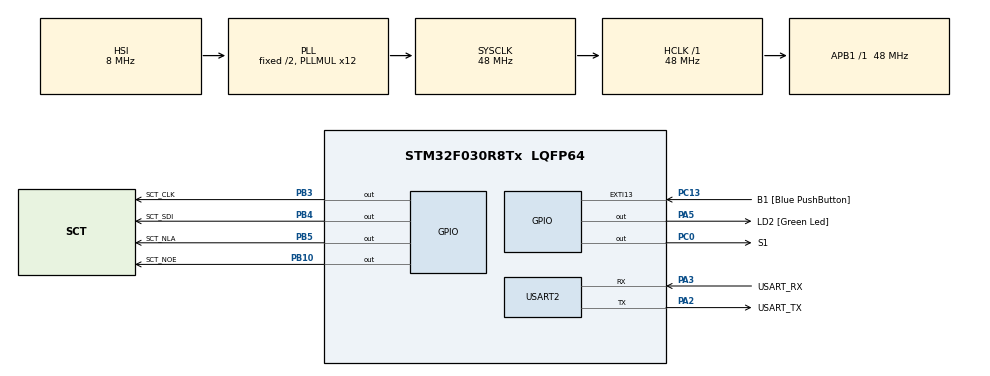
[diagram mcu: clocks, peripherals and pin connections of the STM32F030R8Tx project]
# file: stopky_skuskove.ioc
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Mcu.Family=STM32F0
Mcu.Name=STM32F030R8Tx
Mcu.Package=LQFP64
PA13.GPIO_Label=TMS
PA13.Mode=Serial_Wire
PA13.Signal=SYS_SWDIO
PA14.GPIO_Label=TCK
PA14.Mode=Serial_Wire
PA14.Signal=SYS_SWCLK
PA2.GPIO_Label=USART_TX
PA2.GPIO_Mode=GPIO_MODE_AF_PP
PA2.GPIO_PuPd=GPIO_NOPULL
PA2.GPIO_Speed=GPIO_SPEED_FREQ_LOW
PA2.Mode=Asynchronous
PA2.Signal=USART2_TX
PA3.GPIO_Label=USART_RX
PA3.GPIO_Mode=GPIO_MODE_AF_PP
PA3.GPIO_PuPd=GPIO_NOPULL
PA3.GPIO_Speed=GPIO_SPEED_FREQ_LOW
PA3.Mode=Asynchronous
PA3.Signal=USART2_RX
PA5.GPIO_Label=LD2 [Green Led]
PA5.GPIO_Mode=GPIO_MODE_OUTPUT_PP
PA5.GPIO_PuPd=GPIO_NOPULL
PA5.GPIO_Speed=GPIO_SPEED_FREQ_LOW
PA5.Signal=GPIO_Output
PB10.GPIO_Label=SCT_NOE
PB10.Signal=GPIO_Output
PB3.GPIO_Label=SCT_CLK
PB3.Signal=GPIO_Output
PB4.GPIO_Label=SCT_SDI
PB4.Signal=GPIO_Output
PB5.GPIO_Label=SCT_NLA
PB5.Signal=GPIO_Output
PC0.GPIO_Label=S1
PC0.GPIO_PuPd=GPIO_PULLUP
PC0.Signal=GPIO_Output
PC13.GPIO_Label=B1 [Blue PushButton]
PC13.GPIO_ModeDefaultEXTI=GPIO_MODE_IT_FALLING
PC13.Signal=GPXTI13
PC14-OSC32_IN.Mode=LSE-External-Oscillator
PC14-OSC32_IN.Signal=RCC_OSC32_IN
PC15-OSC32_OUT.Mode=LSE-External-Oscillator
PC15-OSC32_OUT.Signal=RCC_OSC32_OUT
PF0-OSC_IN.Mode=HSE-External-Clock-Source
PF0-OSC_IN.Signal=RCC_OSC_IN
PF1-OSC_OUT.Signal=RCC_OSC_OUT
ProjectManager.HeapSize=0x200
ProjectManager.StackSize=0x400
ProjectManager.TargetToolchain=STM32CubeIDE
RCC.AHBFreq_Value=48000000
RCC.APB1Freq_Value=48000000
RCC.APB1TimFreq_Value=48000000
RCC.HCLKFreq_Value=48000000
RCC.PLLMUL=RCC_PLL_MUL12
RCC.SYSCLKFreq_VALUE=48000000
RCC.SYSCLKSource=RCC_SYSCLKSOURCE_PLLCLK
USART2.VirtualMode-Asynchronous=VM_ASYNC
board=NUCLEO-F030R8

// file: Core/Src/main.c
/* USER CODE BEGIN Header */
/**
  ******************************************************************************
  * @file           : main.c
  * @brief          : Main program body
  ******************************************************************************
  * @attention
  *
  * Copyright (c) 2024 STMicroelectronics.
  * All rights reserved.
  *
  * This software is licensed under terms that can be found in the LICENSE file
  * in the root directory of this software component.
  * If no LICENSE file comes with this software, it is provided AS-IS.
  *
  ******************************************************************************
  */
/* USER CODE END Header */
#include "main.h"

/* USER CODE BEGIN Includes */
#include "sct.h"
/* USER CODE END Includes */

/* USER CODE BEGIN PTD */
#define BTN_TIME		40
#define DEBOUNCE_MS		5
#define DEBOUNCE_TIME	100
/* USER CODE END PTD */

UART_HandleTypeDef huart2;

void SystemClock_Config(void);
static void MX_GPIO_Init(void);
static void MX_USART2_UART_Init(void);

int main(void)
{

  /* MCU Configuration--------------------------------------------------------*/

  /* Reset of all peripherals, Initializes the Flash interface and the Systick. */
  HAL_Init();

  /* USER CODE BEGIN Init */
sct_init();

  /* USER CODE END Init */

  /* Configure the system clock */
  SystemClock_Config();

  /* Initialize all configured peripherals */
  MX_GPIO_Init();
  MX_USART2_UART_Init();
  /* USER CODE BEGIN 2 */
  sct_value(100,5,2);
  /* USER CODE END 2 */

  /* Infinite loop */
  /* USER CODE BEGIN WHILE */
  uint8_t minutes = 0;
  uint8_t seconds = 0;
  uint8_t miliseconds = 0;
  static uint32_t last_task_time = 0;
  uint32_t new_s1 = HAL_GPIO_ReadPin(S1_GPIO_Port, S1_Pin);
  static uint32_t off_time, old_time, debounce_time;

  while (1)
  {

	  if((HAL_GetTick()-last_task_time) > 100)
	  {  miliseconds++;

	  if(miliseconds == 10)
	  {
		  seconds++;
		  miliseconds=0;

		  if(seconds == 60)
		  {
			  minutes++;
			  seconds = 0;
		  }
	  }
	  last_task_time = HAL_GetTick();
	  }

	  static uint16_t debounce = 0xFFFF;
	  if (HAL_GetTick() > debounce_time + DEBOUNCE_MS) {
		  debounce_time = HAL_GetTick();

		  debounce <<= 1;
		  if (new_s1) debounce |= 0x0001;

		  if (debounce == 0x7FFF) {
			  }
			  sct_value(minutes * 1000 + seconds*10 + miliseconds, 8, 1);
		  }
    /* USER CODE END WHILE */

  }
}

void SystemClock_Config(void)
{
  RCC_OscInitTypeDef RCC_OscInitStruct = {0};
  RCC_ClkInitTypeDef RCC_ClkInitStruct = {0};

  /** Initializes the RCC Oscillators according to the specified parameters
  * in the RCC_OscInitTypeDef structure.
  */
  RCC_OscInitStruct.OscillatorType = RCC_OSCILLATORTYPE_HSI;
  RCC_OscInitStruct.HSIState = RCC_HSI_ON;
  RCC_OscInitStruct.HSICalibrationValue = RCC_HSICALIBRATION_DEFAULT;
  RCC_OscInitStruct.PLL.PLLState = RCC_PLL_ON;
  RCC_OscInitStruct.PLL.PLLSource = RCC_PLLSOURCE_HSI;
  RCC_OscInitStruct.PLL.PLLMUL = RCC_PLL_MUL12;
  RCC_OscInitStruct.PLL.PREDIV = RCC_PREDIV_DIV1;
  if (HAL_RCC_OscConfig(&RCC_OscInitStruct) != HAL_OK)
  {
    Error_Handler();
  }

  /** Initializes the CPU, AHB and APB buses clocks
  */
  RCC_ClkInitStruct.ClockType = RCC_CLOCKTYPE_HCLK|RCC_CLOCKTYPE_SYSCLK
                              |RCC_CLOCKTYPE_PCLK1;
  RCC_ClkInitStruct.SYSCLKSource = RCC_SYSCLKSOURCE_PLLCLK;
  RCC_ClkInitStruct.AHBCLKDivider = RCC_SYSCLK_DIV1;
  RCC_ClkInitStruct.APB1CLKDivider = RCC_HCLK_DIV1;

  if (HAL_RCC_ClockConfig(&RCC_ClkInitStruct, FLASH_LATENCY_1) != HAL_OK)
  {
    Error_Handler();
  }
}

static void MX_USART2_UART_Init(void)
{

  huart2.Instance = USART2;
  huart2.Init.BaudRate = 38400;
  huart2.Init.WordLength = UART_WORDLENGTH_8B;
  huart2.Init.StopBits = UART_STOPBITS_1;
  huart2.Init.Parity = UART_PARITY_NONE;
  huart2.Init.Mode = UART_MODE_TX_RX;
  huart2.Init.HwFlowCtl = UART_HWCONTROL_NONE;
  huart2.Init.OverSampling = UART_OVERSAMPLING_16;
  huart2.Init.OneBitSampling = UART_ONE_BIT_SAMPLE_DISABLE;
  huart2.AdvancedInit.AdvFeatureInit = UART_ADVFEATURE_NO_INIT;
  if (HAL_UART_Init(&huart2) != HAL_OK)
  {
    Error_Handler();
  }

}

static void MX_GPIO_Init(void)
{
  GPIO_InitTypeDef GPIO_InitStruct = {0};

  /* GPIO Ports Clock Enable */
  __HAL_RCC_GPIOC_CLK_ENABLE();
  __HAL_RCC_GPIOF_CLK_ENABLE();
  __HAL_RCC_GPIOA_CLK_ENABLE();
  __HAL_RCC_GPIOB_CLK_ENABLE();

  /*Configure GPIO pin Output Level */
  HAL_GPIO_WritePin(S1_GPIO_Port, S1_Pin, GPIO_PIN_RESET);

  /*Configure GPIO pin Output Level */
  HAL_GPIO_WritePin(LD2_GPIO_Port, LD2_Pin, GPIO_PIN_RESET);

  /*Configure GPIO pin Output Level */
  HAL_GPIO_WritePin(GPIOB, SCT_NOE_Pin|SCT_CLK_Pin|SCT_SDI_Pin|SCT_NLA_Pin, GPIO_PIN_RESET);

  /*Configure GPIO pin : B1_Pin */
  GPIO_InitStruct.Pin = B1_Pin;
  GPIO_InitStruct.Mode = GPIO_MODE_IT_FALLING;
  GPIO_InitStruct.Pull = GPIO_NOPULL;
  HAL_GPIO_Init(B1_GPIO_Port, &GPIO_InitStruct);

  /*Configure GPIO pin : S1_Pin */
  GPIO_InitStruct.Pin = S1_Pin;
  GPIO_InitStruct.Mode = GPIO_MODE_OUTPUT_PP;
  GPIO_InitStruct.Pull = GPIO_PULLUP;
  GPIO_InitStruct.Speed = GPIO_SPEED_FREQ_LOW;
  HAL_GPIO_Init(S1_GPIO_Port, &GPIO_InitStruct);

  /*Configure GPIO pin : LD2_Pin */
  GPIO_InitStruct.Pin = LD2_Pin;
  GPIO_InitStruct.Mode = GPIO_MODE_OUTPUT_PP;
  GPIO_InitStruct.Pull = GPIO_NOPULL;
  GPIO_InitStruct.Speed = GPIO_SPEED_FREQ_LOW;
  HAL_GPIO_Init(LD2_GPIO_Port, &GPIO_InitStruct);

  /*Configure GPIO pins : SCT_NOE_Pin SCT_CLK_Pin SCT_SDI_Pin SCT_NLA_Pin */
  GPIO_InitStruct.Pin = SCT_NOE_Pin|SCT_CLK_Pin|SCT_SDI_Pin|SCT_NLA_Pin;
  GPIO_InitStruct.Mode = GPIO_MODE_OUTPUT_PP;
  GPIO_InitStruct.Pull = GPIO_NOPULL;
  GPIO_InitStruct.Speed = GPIO_SPEED_FREQ_LOW;
  HAL_GPIO_Init(GPIOB, &GPIO_InitStruct);

}

void Error_Handler(void)
{
  __disable_irq();
  while (1)
  {
  }
}
